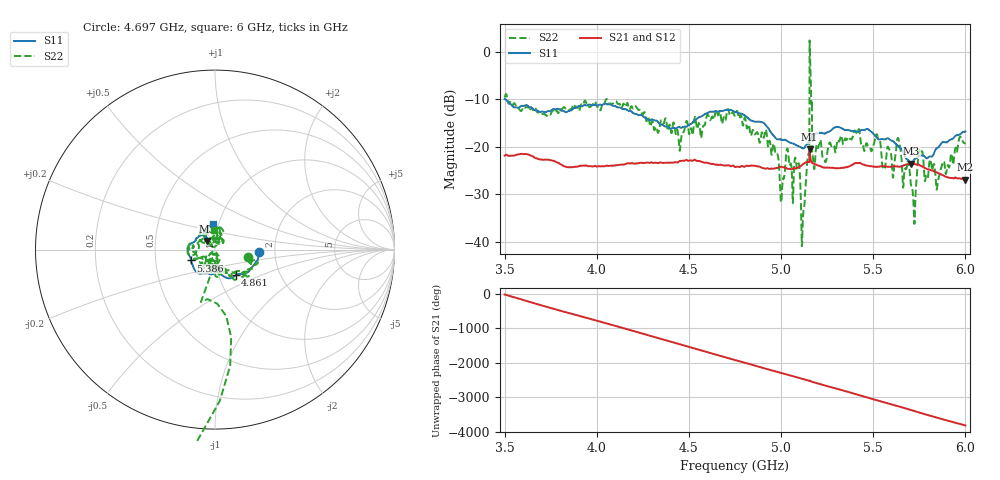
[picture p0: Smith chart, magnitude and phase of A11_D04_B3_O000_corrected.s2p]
! Created with skrf 1.9.0 (http://scikit-rf.org).
# Hz S RI R 50.0
!freq ReS11 ImS11 ReS21 ImS21 ReS12 ImS12 ReS22 ImS22
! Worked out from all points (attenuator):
!   1601 points, 3.5 GHz to 6 GHz, reference 50 ohm
!   highest |S21| = -20.56 dB at 5.155 GHz (marker M1); lowest = -26.9 dB at 6 GHz (marker M2)
!   lowest |S11| = -23.6 dB at 5.706 GHz (marker M3), VSWR 1.14, Z = 45.4 + j4.33 ohm
!   |S11| at or under -10 dB: 3.505 GHz to end of sweep
!   |S22| runs from -41.0 to 2.4 dB; largest |S21 - S12| = 0.0011
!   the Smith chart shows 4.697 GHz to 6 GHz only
!   S11 on the Smith chart (normalised r, x): 4.697 GHz: 1.64, -0.05; 4.861 GHz: 1.20, -0.36; 5.386 GHz: 0.76, -0.09; 6 GHz: 0.94, +0.28
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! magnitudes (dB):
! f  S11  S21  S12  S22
! 3.5 GHz  -9.9  -21.8  -21.8  -9.6
! 3.917 GHz  -11.5  -24.0  -24.0  -11.0
! 4.334 GHz  -14.9  -23.4  -23.4  -17.0
! 4.697 GHz  -12.2  -24.0  -24.0  -14.4
! 4.75 GHz  -12.6  -24.3  -24.2  -13.4
! 4.861 GHz  -14.7  -24.0  -24.0  -17.3
! 4.969 GHz  -18.1  -24.5  -24.5  -21.2
! 5.005 GHz  -18.5  -24.2  -24.2  -29.3
! 5.033 GHz  -18.8  -24.6  -24.5  -20.3
! 5.086 GHz  -19.7  -24.5  -24.4  -24.5
! 5.119 GHz  -20.3  -23.7  -23.6  -34.8
! 5.155 GHz  -18.8  -20.6  -20.5  2.4
! 5.167 GHz  -18.0  -23.1  -23.0  -10.4
! 5.181 GHz  -17.5  -23.6  -23.5  -24.6
! 5.386 GHz  -16.7  -23.8  -23.7  -18.2
! 5.584 GHz  -18.3  -24.2  -24.2  -20.3
! 5.639 GHz  -20.0  -24.2  -24.1  -18.7
! 5.706 GHz  -23.6  -23.7  -23.6  -28.5
! 5.725 GHz  -22.6  -23.6  -23.6  -35.3
! 5.756 GHz  -21.8  -24.0  -23.9  -20.9
! 5.85 GHz  -20.2  -25.5  -25.4  -27.5
! 6 GHz  -16.8  -26.9  -26.8  -19.4
